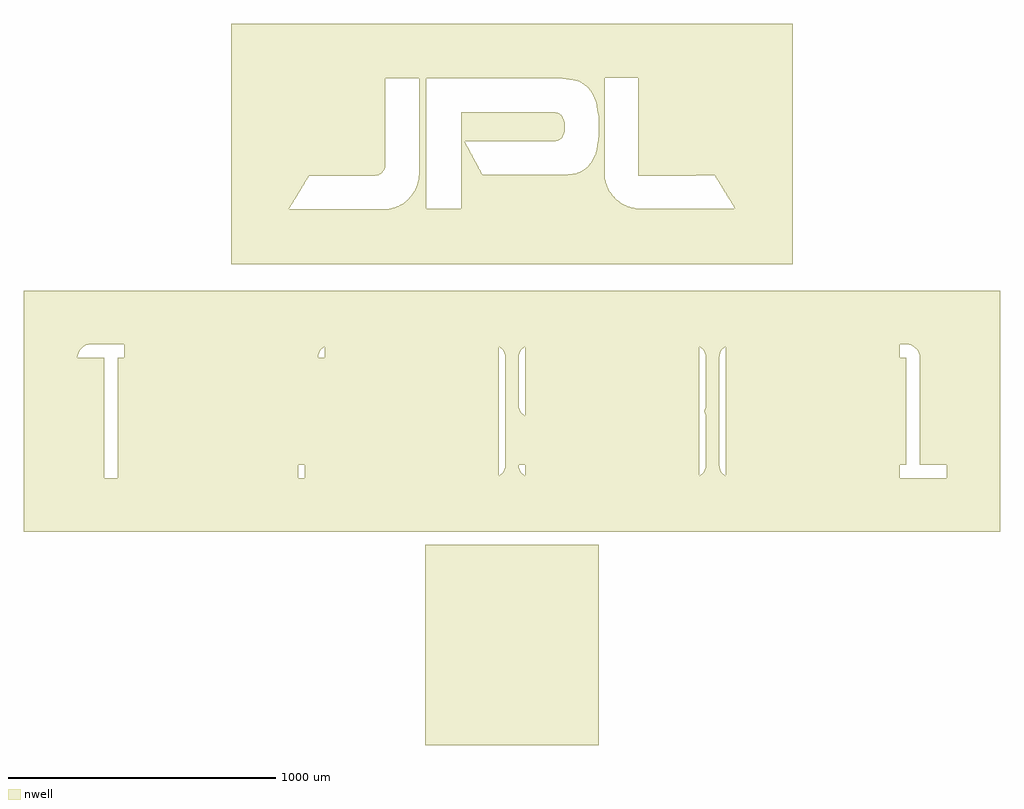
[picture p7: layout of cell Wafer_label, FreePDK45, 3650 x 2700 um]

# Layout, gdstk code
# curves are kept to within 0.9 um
import gdstk
lib = gdstk.Library(unit=1e-6, precision=1e-09)
def R(c, l, rs):  # rectangles x0, y0, x1, y1
    for r in rs: c.add(gdstk.rectangle(r[:2], r[2:], *l))
def P(c, l, *ps):  # polygons
    for p in ps: c.add(gdstk.Polygon(p, *l))
nwell = (3, 0)

jpl_logo1_r = lib.new_cell('jpl_logo1_r')
P(jpl_logo1_r, nwell, [(-1050,-450),(-1050,450),(346.5,450),(346.5,-127.5),(347.5,-127.5),(347.5,-133.5),(349.5,-133.5),(349.5,-138.5),(350.5,-138.5),(350.5,-143.5),(351.5,-143.5),(351.5,-148.5),(353.5,-148.5),(353.5,-152.5),(354.5,-152.5),(354.5,-156.5),(355.5,-156.5),(355.5,-159.5),(356.5,-159.5),(356.5,-162.5),(358.5,-162.5),(358.5,-166.5),(359.5,-166.5),(359.5,-169.5),(360.5,-169.5),(360.5,-171.5),(362.5,-171.5),(362.5,-174.5),(363.5,-174.5),(363.5,-176.5),(364.5,-176.5),(364.5,-179.5),(365.5,-179.5),(365.5,-180.5),(367.5,-180.5),(367.5,-181.5),(368.5,-181.5),(368.5,-184.5),(369.5,-184.5),(369.5,-185.5),(370.5,-185.5),(370.5,-186.5),(372.5,-186.5),(372.5,-189.5),(373.5,-189.5),(373.5,-190.5),(374.5,-190.5),(374.5,-191.5),(375.5,-191.5),(375.5,-193.5),(377.5,-193.5),(377.5,-195.5),(378.5,-195.5),(378.5,-196.5),(379.5,-196.5),(379.5,-198.5),(381.5,-198.5),(381.5,-199.5),(382.5,-199.5),(382.5,-200.5),(383.5,-200.5),(383.5,-203.5),(384.5,-203.5),(384.5,-204.5),(386.5,-204.5),(386.5,-205.5),(387.5,-205.5),(387.5,-206.5),(388.5,-206.5),(388.5,-208.5),(389.5,-208.5),(389.5,-209.5),(392.5,-209.5),(392.5,-210.5),(393.5,-210.5),(393.5,-211.5),(395.5,-211.5),(395.5,-213.5),(396.5,-213.5),(396.5,-214.5),(397.5,-214.5),(397.5,-215.5),(400.5,-215.5),(400.5,-217.5),(401.5,-217.5),(401.5,-218.5),(402.5,-218.5),(402.5,-219.5),(405.5,-219.5),(405.5,-220.5),(406.5,-220.5),(406.5,-222.5),(409.5,-222.5),(409.5,-223.5),(410.5,-223.5),(410.5,-224.5),(412.5,-224.5),(412.5,-225.5),(415.5,-225.5),(415.5,-227.5),(416.5,-227.5),(416.5,-228.5),(420.5,-228.5),(420.5,-229.5),(423.5,-229.5),(423.5,-230.5),(426.5,-230.5),(426.5,-232.5),(429.5,-232.5),(429.5,-233.5),(431.5,-233.5),(431.5,-234.5),(434.5,-234.5),(434.5,-235.5),(439.5,-235.5),(439.5,-237.5),(444.5,-237.5),(444.5,-238.5),(447.5,-238.5),(447.5,-239.5),(457.5,-239.5),(457.5,-240.5),(461.5,-240.5),(461.5,-242.5),(475.5,-242.5),(475.5,-243.5),(834.5,-243.5),(834.5,-240.5),(833.5,-240.5),(833.5,-238.5),(831.5,-238.5),(831.5,-237.5),(830.5,-237.5),(830.5,-234.5),(829.5,-234.5),(829.5,-232.5),(828.5,-232.5),(828.5,-230.5),(826.5,-230.5),(826.5,-228.5),(825.5,-228.5),(825.5,-225.5),(824.5,-225.5),(824.5,-224.5),(823.5,-224.5),(823.5,-222.5),(821.5,-222.5),(821.5,-219.5),(820.5,-219.5),(820.5,-218.5),(819.5,-218.5),(819.5,-215.5),(817.5,-215.5),(817.5,-213.5),(816.5,-213.5),(816.5,-211.5),(815.5,-211.5),(815.5,-209.5),(814.5,-209.5),(814.5,-206.5),(812.5,-206.5),(812.5,-205.5),(811.5,-205.5),(811.5,-203.5),(810.5,-203.5),(810.5,-200.5),(808.5,-200.5),(808.5,-199.5),(807.5,-199.5),(807.5,-196.5),(806.5,-196.5),(806.5,-194.5),(805.5,-194.5),(805.5,-193.5),(803.5,-193.5),(803.5,-190.5),(802.5,-190.5),(802.5,-188.5),(801.5,-188.5),(801.5,-186.5),(800.5,-186.5),(800.5,-184.5),(798.5,-184.5),(798.5,-181.5),(797.5,-181.5),(797.5,-180.5),(796.5,-180.5),(796.5,-177.5),(794.5,-177.5),(794.5,-176.5),(793.5,-176.5),(793.5,-174.5),(792.5,-174.5),(792.5,-171.5),(791.5,-171.5),(791.5,-170.5),(789.5,-170.5),(789.5,-167.5),(788.5,-167.5),(788.5,-165.5),(787.5,-165.5),(787.5,-164.5),(785.5,-164.5),(785.5,-161.5),(784.5,-161.5),(784.5,-159.5),(783.5,-159.5),(783.5,-157.5),(782.5,-157.5),(782.5,-155.5),(780.5,-155.5),(780.5,-152.5),(779.5,-152.5),(779.5,-151.5),(778.5,-151.5),(778.5,-148.5),(777.5,-148.5),(777.5,-146.5),(775.5,-146.5),(775.5,-145.5),(774.5,-145.5),(774.5,-142.5),(773.5,-142.5),(773.5,-140.5),(771.5,-140.5),(771.5,-138.5),(770.5,-138.5),(770.5,-136.5),(769.5,-136.5),(769.5,-133.5),(768.5,-133.5),(768.5,-132.5),(766.5,-132.5),(766.5,-130.5),(765.5,-130.5),(765.5,-127.5),(764.5,-127.5),(764.5,-126.5),(762.5,-126.5),(762.5,-123.5),(761.5,-123.5),(761.5,-121.5),(760.5,-121.5),(760.5,-119.5),(687.5,-119.5),(687.5,-118.5),(472.5,-118.5),(472.5,246.5),(346.5,246.5),(346.5,450),(1050,450),(1050,-450),(-320.5,-450),(-320.5,-243.5),(-189.5,-243.5),(-189.5,118.5),(152.5,118.5),(152.5,117.5),(161.5,117.5),(161.5,115.5),(170.5,115.5),(170.5,114.5),(173.5,114.5),(173.5,113.5),(175.5,113.5),(175.5,112.5),(178.5,112.5),(178.5,110.5),(179.5,110.5),(179.5,109.5),(182.5,109.5),(182.5,108.5),(183.5,108.5),(183.5,106.5),(184.5,106.5),(184.5,105.5),(185.5,105.5),(185.5,103.5),(187.5,103.5),(187.5,101.5),(188.5,101.5),(188.5,99.5),(189.5,99.5),(189.5,96.5),(190.5,96.5),(190.5,94.5),(192.5,94.5),(192.5,91.5),(193.5,91.5),(193.5,86.5),(194.5,86.5),(194.5,81.5),(196.5,81.5),(196.5,71.5),(197.5,71.5),(197.5,57.5),(196.5,57.5),(196.5,45.5),(194.5,45.5),(194.5,40.5),(193.5,40.5),(193.5,35.5),(192.5,35.5),(192.5,31.5),(190.5,31.5),(190.5,28.5),(189.5,28.5),(189.5,26.5),(188.5,26.5),(188.5,25.5),(187.5,25.5),(187.5,22.5),(185.5,22.5),(185.5,21.5),(184.5,21.5),(184.5,19.5),(183.5,19.5),(183.5,18.5),(180.5,18.5),(180.5,17.5),(179.5,17.5),(179.5,16.5),(178.5,16.5),(178.5,14.5),(175.5,14.5),(175.5,13.5),(173.5,13.5),(173.5,12.5),(170.5,12.5),(170.5,11.5),(164.5,11.5),(164.5,9.5),(-177.5,9.5),(-177.5,8.5),(-176.5,8.5),(-176.5,6.5),(-175.5,6.5),(-175.5,3.5),(-174.5,3.5),(-174.5,1.5),(-172.5,1.5),(-172.5,-1.5),(-171.5,-1.5),(-171.5,-3.5),(-170.5,-3.5),(-170.5,-6.5),(-169.5,-6.5),(-169.5,-9.5),(-167.5,-9.5),(-167.5,-11.5),(-166.5,-11.5),(-166.5,-12.5),(-165.5,-12.5),(-165.5,-15.5),(-163.5,-15.5),(-163.5,-17.5),(-162.5,-17.5),(-162.5,-20.5),(-161.5,-20.5),(-161.5,-22.5),(-160.5,-22.5),(-160.5,-25.5),(-158.5,-25.5),(-158.5,-27.5),(-157.5,-27.5),(-157.5,-30.5),(-156.5,-30.5),(-156.5,-32.5),(-155.5,-32.5),(-155.5,-34.5),(-153.5,-34.5),(-153.5,-36.5),(-152.5,-36.5),(-152.5,-39.5),(-151.5,-39.5),(-151.5,-41.5),(-149.5,-41.5),(-149.5,-44.5),(-148.5,-44.5),(-148.5,-46.5),(-147.5,-46.5),(-147.5,-49.5),(-146.5,-49.5),(-146.5,-51.5),(-144.5,-51.5),(-144.5,-53.5),(-143.5,-53.5),(-143.5,-55.5),(-142.5,-55.5),(-142.5,-58.5),(-140.5,-58.5),(-140.5,-60.5),(-139.5,-60.5),(-139.5,-63.5),(-138.5,-63.5),(-138.5,-65.5),(-137.5,-65.5),(-137.5,-68.5),(-135.5,-68.5),(-135.5,-70.5),(-134.5,-70.5),(-134.5,-73.5),(-133.5,-73.5),(-133.5,-74.5),(-132.5,-74.5),(-132.5,-77.5),(-130.5,-77.5),(-130.5,-79.5),(-129.5,-79.5),(-129.5,-82.5),(-128.5,-82.5),(-128.5,-84.5),(-126.5,-84.5),(-126.5,-87.5),(-125.5,-87.5),(-125.5,-89.5),(-124.5,-89.5),(-124.5,-92.5),(-123.5,-92.5),(-123.5,-94.5),(-121.5,-94.5),(-121.5,-95.5),(-120.5,-95.5),(-120.5,-98.5),(-119.5,-98.5),(-119.5,-101.5),(-117.5,-101.5),(-117.5,-103.5),(-116.5,-103.5),(-116.5,-106.5),(-115.5,-106.5),(-115.5,-108.5),(-114.5,-108.5),(-114.5,-111.5),(-112.5,-111.5),(-112.5,-113.5),(-111.5,-113.5),(-111.5,-116.5),(210.5,-116.5),(210.5,-114.5),(224.5,-114.5),(224.5,-113.5),(227.5,-113.5),(227.5,-112.5),(235.5,-112.5),(235.5,-111.5),(242.5,-111.5),(242.5,-109.5),(244.5,-109.5),(244.5,-108.5),(247.5,-108.5),(247.5,-107.5),(250.5,-107.5),(250.5,-106.5),(254.5,-106.5),(254.5,-104.5),(257.5,-104.5),(257.5,-103.5),(259.5,-103.5),(259.5,-102.5),(262.5,-102.5),(262.5,-101.5),(264.5,-101.5),(264.5,-99.5),(266.5,-99.5),(266.5,-98.5),(268.5,-98.5),(268.5,-97.5),(270.5,-97.5),(270.5,-95.5),(271.5,-95.5),(271.5,-94.5),(273.5,-94.5),(273.5,-93.5),(275.5,-93.5),(275.5,-92.5),(276.5,-92.5),(276.5,-90.5),(277.5,-90.5),(277.5,-89.5),(279.5,-89.5),(279.5,-88.5),(281.5,-88.5),(281.5,-87.5),(282.5,-87.5),(282.5,-85.5),(284.5,-85.5),(284.5,-84.5),(285.5,-84.5),(285.5,-83.5),(286.5,-83.5),(286.5,-82.5),(287.5,-82.5),(287.5,-79.5),(289.5,-79.5),(289.5,-78.5),(290.5,-78.5),(290.5,-77.5),(291.5,-77.5),(291.5,-74.5),(293.5,-74.5),(293.5,-73.5),(294.5,-73.5),(294.5,-72.5),(295.5,-72.5),(295.5,-69.5),(296.5,-69.5),(296.5,-68.5),(298.5,-68.5),(298.5,-65.5),(299.5,-65.5),(299.5,-63.5),(300.5,-63.5),(300.5,-60.5),(302.5,-60.5),(302.5,-58.5),(303.5,-58.5),(303.5,-55.5),(304.5,-55.5),(304.5,-53.5),(305.5,-53.5),(305.5,-50.5),(307.5,-50.5),(307.5,-48.5),(308.5,-48.5),(308.5,-45.5),(309.5,-45.5),(309.5,-43.5),(310.5,-43.5),(310.5,-40.5),(312.5,-40.5),(312.5,-36.5),(313.5,-36.5),(313.5,-31.5),(314.5,-31.5),(314.5,-26.5),(316.5,-26.5),(316.5,-20.5),(317.5,-20.5),(317.5,-14.5),(318.5,-14.5),(318.5,-7.5),(319.5,-7.5),(319.5,-0.5),(321.5,-0.5),(321.5,7.5),(322.5,7.5),(322.5,22.5),(323.5,22.5),(323.5,47.5),(324.5,47.5),(324.5,90.5),(323.5,90.5),(323.5,106.5),(322.5,106.5),(322.5,114.5),(321.5,114.5),(321.5,122.5),(319.5,122.5),(319.5,128.5),(318.5,128.5),(318.5,135.5),(317.5,135.5),(317.5,142.5),(316.5,142.5),(316.5,149.5),(314.5,149.5),(314.5,156.5),(313.5,156.5),(313.5,159.5),(312.5,159.5),(312.5,163.5),(310.5,163.5),(310.5,166.5),(309.5,166.5),(309.5,170.5),(308.5,170.5),(308.5,173.5),(307.5,173.5),(307.5,176.5),(305.5,176.5),(305.5,178.5),(304.5,178.5),(304.5,181.5),(303.5,181.5),(303.5,183.5),(302.5,183.5),(302.5,186.5),(300.5,186.5),(300.5,188.5),(299.5,188.5),(299.5,191.5),(298.5,191.5),(298.5,192.5),(296.5,192.5),(296.5,195.5),(295.5,195.5),(295.5,197.5),(294.5,197.5),(294.5,199.5),(293.5,199.5),(293.5,200.5),(291.5,200.5),(291.5,202.5),(290.5,202.5),(290.5,204.5),(289.5,204.5),(289.5,205.5),(287.5,205.5),(287.5,207.5),(286.5,207.5),(286.5,209.5),(285.5,209.5),(285.5,210.5),(284.5,210.5),(284.5,211.5),(281.5,211.5),(281.5,212.5),(280.5,212.5),(280.5,214.5),(279.5,214.5),(279.5,215.5),(277.5,215.5),(277.5,216.5),(276.5,216.5),(276.5,217.5),(273.5,217.5),(273.5,219.5),(272.5,219.5),(272.5,220.5),(271.5,220.5),(271.5,221.5),(270.5,221.5),(270.5,222.5),(268.5,222.5),(268.5,224.5),(266.5,224.5),(266.5,225.5),(263.5,225.5),(263.5,226.5),(262.5,226.5),(262.5,228.5),(259.5,228.5),(259.5,229.5),(257.5,229.5),(257.5,230.5),(254.5,230.5),(254.5,231.5),(252.5,231.5),(252.5,233.5),(248.5,233.5),(248.5,234.5),(245.5,234.5),(245.5,235.5),(242.5,235.5),(242.5,236.5),(238.5,236.5),(238.5,238.5),(229.5,238.5),(229.5,239.5),(225.5,239.5),(225.5,240.5),(216.5,240.5),(216.5,241.5),(203.5,241.5),(203.5,243.5),(189.5,243.5),(189.5,244.5),(-320.5,244.5),(-320.5,-450),(-835.5,-450),(-835.5,-245.5),(-461.5,-245.5),(-461.5,-244.5),(-459.5,-244.5),(-459.5,-243.5),(-454.5,-243.5),(-454.5,-242.5),(-449.5,-242.5),(-449.5,-240.5),(-446.5,-240.5),(-446.5,-239.5),(-441.5,-239.5),(-441.5,-238.5),(-436.5,-238.5),(-436.5,-237.5),(-433.5,-237.5),(-433.5,-235.5),(-431.5,-235.5),(-431.5,-234.5),(-428.5,-234.5),(-428.5,-233.5),(-424.5,-233.5),(-424.5,-232.5),(-422.5,-232.5),(-422.5,-230.5),(-418.5,-230.5),(-418.5,-229.5),(-417.5,-229.5),(-417.5,-228.5),(-414.5,-228.5),(-414.5,-227.5),(-412.5,-227.5),(-412.5,-225.5),(-409.5,-225.5),(-409.5,-224.5),(-407.5,-224.5),(-407.5,-223.5),(-405.5,-223.5),(-405.5,-222.5),(-403.5,-222.5),(-403.5,-220.5),(-401.5,-220.5),(-401.5,-219.5),(-400.5,-219.5),(-400.5,-218.5),(-398.5,-218.5),(-398.5,-217.5),(-396.5,-217.5),(-396.5,-215.5),(-395.5,-215.5),(-395.5,-214.5),(-394.5,-214.5),(-394.5,-213.5),(-393.5,-213.5),(-393.5,-211.5),(-391.5,-211.5),(-391.5,-210.5),(-390.5,-210.5),(-390.5,-209.5),(-389.5,-209.5),(-389.5,-208.5),(-387.5,-208.5),(-387.5,-206.5),(-386.5,-206.5),(-386.5,-205.5),(-385.5,-205.5),(-385.5,-204.5),(-384.5,-204.5),(-384.5,-201.5),(-382.5,-201.5),(-382.5,-200.5),(-381.5,-200.5),(-381.5,-199.5),(-380.5,-199.5),(-380.5,-198.5),(-379.5,-198.5),(-379.5,-196.5),(-377.5,-196.5),(-377.5,-194.5),(-376.5,-194.5),(-376.5,-193.5),(-375.5,-193.5),(-375.5,-191.5),(-374.5,-191.5),(-374.5,-190.5),(-372.5,-190.5),(-372.5,-188.5),(-371.5,-188.5),(-371.5,-186.5),(-370.5,-186.5),(-370.5,-185.5),(-368.5,-185.5),(-368.5,-182.5),(-367.5,-182.5),(-367.5,-181.5),(-366.5,-181.5),(-366.5,-179.5),(-365.5,-179.5),(-365.5,-176.5),(-363.5,-176.5),(-363.5,-174.5),(-362.5,-174.5),(-362.5,-171.5),(-361.5,-171.5),(-361.5,-169.5),(-360.5,-169.5),(-360.5,-166.5),(-358.5,-166.5),(-358.5,-162.5),(-357.5,-162.5),(-357.5,-160.5),(-356.5,-160.5),(-356.5,-156.5),(-354.5,-156.5),(-354.5,-153.5),(-353.5,-153.5),(-353.5,-148.5),(-352.5,-148.5),(-352.5,-142.5),(-351.5,-142.5),(-351.5,-136.5),(-349.5,-136.5),(-349.5,-130.5),(-348.5,-130.5),(-348.5,-119.5),(-347.5,-119.5),(-347.5,244.5),(-473.5,244.5),(-473.5,-82.5),(-474.5,-82.5),(-474.5,-89.5),(-475.5,-89.5),(-475.5,-92.5),(-476.5,-92.5),(-476.5,-94.5),(-478.5,-94.5),(-478.5,-97.5),(-479.5,-97.5),(-479.5,-98.5),(-480.5,-98.5),(-480.5,-101.5),(-482.5,-101.5),(-482.5,-103.5),(-483.5,-103.5),(-483.5,-104.5),(-484.5,-104.5),(-484.5,-106.5),(-485.5,-106.5),(-485.5,-107.5),(-487.5,-107.5),(-487.5,-108.5),(-488.5,-108.5),(-488.5,-109.5),(-489.5,-109.5),(-489.5,-111.5),(-490.5,-111.5),(-490.5,-112.5),(-493.5,-112.5),(-493.5,-113.5),(-494.5,-113.5),(-494.5,-114.5),(-497.5,-114.5),(-497.5,-116.5),(-498.5,-116.5),(-498.5,-117.5),(-506.5,-117.5),(-506.5,-118.5),(-510.5,-118.5),(-510.5,-119.5),(-760.5,-119.5),(-760.5,-121.5),(-761.5,-121.5),(-761.5,-123.5),(-762.5,-123.5),(-762.5,-126.5),(-763.5,-126.5),(-763.5,-127.5),(-765.5,-127.5),(-765.5,-130.5),(-766.5,-130.5),(-766.5,-132.5),(-767.5,-132.5),(-767.5,-133.5),(-769.5,-133.5),(-769.5,-136.5),(-770.5,-136.5),(-770.5,-138.5),(-771.5,-138.5),(-771.5,-140.5),(-772.5,-140.5),(-772.5,-142.5),(-774.5,-142.5),(-774.5,-145.5),(-775.5,-145.5),(-775.5,-146.5),(-776.5,-146.5),(-776.5,-148.5),(-777.5,-148.5),(-777.5,-151.5),(-779.5,-151.5),(-779.5,-152.5),(-780.5,-152.5),(-780.5,-155.5),(-781.5,-155.5),(-781.5,-157.5),(-783.5,-157.5),(-783.5,-159.5),(-784.5,-159.5),(-784.5,-161.5),(-785.5,-161.5),(-785.5,-164.5),(-786.5,-164.5),(-786.5,-165.5),(-788.5,-165.5),(-788.5,-167.5),(-789.5,-167.5),(-789.5,-170.5),(-790.5,-170.5),(-790.5,-171.5),(-792.5,-171.5),(-792.5,-174.5),(-793.5,-174.5),(-793.5,-176.5),(-794.5,-176.5),(-794.5,-177.5),(-795.5,-177.5),(-795.5,-180.5),(-797.5,-180.5),(-797.5,-182.5),(-798.5,-182.5),(-798.5,-184.5),(-799.5,-184.5),(-799.5,-186.5),(-800.5,-186.5),(-800.5,-189.5),(-802.5,-189.5),(-802.5,-190.5),(-803.5,-190.5),(-803.5,-193.5),(-804.5,-193.5),(-804.5,-195.5),(-806.5,-195.5),(-806.5,-196.5),(-807.5,-196.5),(-807.5,-199.5),(-808.5,-199.5),(-808.5,-201.5),(-809.5,-201.5),(-809.5,-203.5),(-811.5,-203.5),(-811.5,-205.5),(-812.5,-205.5),(-812.5,-208.5),(-813.5,-208.5),(-813.5,-209.5),(-815.5,-209.5),(-815.5,-211.5),(-816.5,-211.5),(-816.5,-214.5),(-817.5,-214.5),(-817.5,-215.5),(-818.5,-215.5),(-818.5,-218.5),(-820.5,-218.5),(-820.5,-220.5),(-821.5,-220.5),(-821.5,-222.5),(-822.5,-222.5),(-822.5,-224.5),(-823.5,-224.5),(-823.5,-227.5),(-825.5,-227.5),(-825.5,-228.5),(-826.5,-228.5),(-826.5,-230.5),(-827.5,-230.5),(-827.5,-233.5),(-829.5,-233.5),(-829.5,-234.5),(-830.5,-234.5),(-830.5,-237.5),(-831.5,-237.5),(-831.5,-239.5),(-832.5,-239.5),(-832.5,-240.5),(-834.5,-240.5),(-834.5,-243.5),(-835.5,-243.5),(-835.5,-450)])

c_00__0_1mm_r = lib.new_cell('00__0_1mm_r')
R(c_00__0_1mm_r, nwell, [(-45,-40,-15,40), (15,-40,45,40)])
P(c_00__0_1mm_r, nwell, [(-250,-250),(-250,250),(250,250),(250,-250),(-55,-250),(-55,-40),(-52,-47),(-45,-50),(-15,-50),(-11,-49),(-6,-44),(-5,-40),(-5,40),(-8,47),(-15,50),(15,50),(8,47),(5,40),(5,-40),(8,-47),(15,-50),(45,-50),(52,-47),(55,-40),(55,40),(52,47),(45,50),(-45,50),(-49,49),(-54,44),(-55,40),(-55,-250)])

c_0_1mm_r = lib.new_cell('C_0_1mm_r')
P(c_0_1mm_r, nwell, [(-250,-250),(-250,250),(250,250),(250,-250),(-25,-250),(-25,-40),(-22,-47),(-15,-50),(15,-50),(22,-47),(25,-40),(25,-20),(15,-20),(15,-40),(-15,-40),(-15,40),(15,40),(15,20),(25,20),(24,44),(22,47),(15,50),(-15,50),(-22,47),(-25,40),(-25,-250)])

r_0_1mm_r = lib.new_cell('R_0_1mm_r')
R(r_0_1mm_r, nwell, [(-15,5,15,40)])
P(r_0_1mm_r, nwell, [(-250,-250),(-250,250),(250,250),(250,-250),(-25,-250),(-25,-40),(-22,-47),(-15,-50),(-15,-12.5),(15,-50),(19,-49),(24,-44),(25,-40),(-10,-5),(15,-5),(19,-4),(24,1),(25,40),(22,47),(15,50),(-15,50),(-22,47),(-25,40),(-25,-250)])

c_1_0_5mm_r = lib.new_cell('1_0_5mm_r')
P(c_1_0_5mm_r, nwell, [(-325,-450),(-325,450),(325,450),(325,-450),(-125,-450),(-125,-250),(125,-250),(125,-200),(25,-200),(25,200),(24,210),(17,228),(3,242),(-15,249),(-25,250),(-75,250),(-85,249),(-94,246),(-103,242),(-117,228),(-124,210),(-125,200),(-25,200),(-25,-200),(-125,-200),(-125,-450)])

c_30_0_5mm_r = lib.new_cell('30_0_5mm_r')
R(c_30_0_5mm_r, nwell, [(75,-200,225,200)])
P(c_30_0_5mm_r, nwell, [(-475,-450),(-475,450),(475,450),(475,-450),(-271,-450),(-271,-219),(-267,-228),(-253,-242),(-235,-249),(-225,-250),(-75,-250),(-65,-249),(-47,-242),(-33,-228),(-26,-210),(-25,-200),(-25,-25),(-26,-15),(-31.667,0),(-26,15),(-25,25),(-25,200),(-26,210),(-33,228),(-47,242),(47,242),(33,228),(26,210),(25,200),(25,-200),(26,-210),(33,-228),(47,-242),(65,-249),(75,-250),(225,-250),(235,-249),(253,-242),(267,-228),(274,-210),(275,-200),(275,200),(274,210),(267,228),(253,242),(235,249),(225,250),(75,250),(65,249),(47,242),(-47,242),(-65,249),(-75,250),(-225,250),(-235,249),(-253,242),(-267,228),(-274,210),(-275,200),(-75,200),(-75,25),(-225,25),(-225,-25),(-75,-25),(-75,-200),(-275,-200),(-274,-210),(-271,-219),(-271,-450)])

t_0_5mm_r = lib.new_cell('T_0_5mm_r')
P(t_0_5mm_r, nwell, [(-325,-450),(-325,450),(-117,450),(-117,228),(-124,210),(-125,200),(-25,200),(-25,-250),(25,-250),(25,200),(125,200),(124,210),(117,228),(103,242),(85,249),(75,250),(-75,250),(-85,249),(-103,242),(-117,228),(-117,450),(325,450),(325,-450)])

c_17_0_5mm_r = lib.new_cell('17_0_5mm_r')
P(c_17_0_5mm_r, nwell, [(-475,-450),(-475,450),(29,450),(29,219),(26,210),(25,200),(225,200),(225,-250),(275,-250),(275,200),(274,210),(267,228),(253,242),(235,249),(225,250),(75,250),(65,249),(47,242),(33,228),(29,219),(29,450),(475,450),(475,-450),(-275,-450),(-275,-250),(-25,-250),(-25,-200),(-125,-200),(-125,200),(-126,210),(-133,228),(-147,242),(-165,249),(-175,250),(-225,250),(-235,249),(-244,246),(-253,242),(-267,228),(-274,210),(-275,200),(-175,200),(-175,-200),(-275,-200),(-275,-450)])

c_05_0_5mm_r = lib.new_cell('05_0_5mm_r')
R(c_05_0_5mm_r, nwell, [(-225,-200,-75,200)])
P(c_05_0_5mm_r, nwell, [(-475,-450),(-475,450),(475,450),(475,-450),(-271,-450),(-271,-219),(-267,-228),(-253,-242),(-235,-249),(-225,-250),(-75,-250),(-65,-249),(-47,-242),(-33,-228),(-26,-210),(-25,-200),(-25,200),(-26,210),(-33,228),(-47,242),(47,242),(33,228),(26,210),(25,200),(25,25),(26,15),(33,-3),(47,-17),(65,-24),(75,-25),(225,-25),(225,-200),(25,-200),(26,-210),(33,-228),(47,-242),(65,-249),(75,-250),(225,-250),(235,-249),(253,-242),(267,-228),(274,-210),(275,-200),(275,-25),(274,-15),(267,3),(253,17),(235,24),(225,25),(75,25),(75,200),(275,200),(274,210),(267,228),(253,242),(235,249),(225,250),(75,250),(65,249),(47,242),(-47,242),(-65,249),(-75,250),(-225,250),(-235,249),(-253,242),(-267,228),(-274,210),(-275,200),(-275,-200),(-274,-210),(-271,-219),(-271,-450)])

dash_0_5mm_r = lib.new_cell('dash_0_5mm_r')
P(dash_0_5mm_r, nwell, [(-325,-450),(-325,450),(325,450),(325,-450),(-75,-450),(-75,-25),(75,-25),(75,25),(-75,25),(-75,-450)])

wafer_label = lib.new_cell('Wafer_label')
wafer_label.add(gdstk.Reference(jpl_logo1_r, (0,1000)))
wafer_label.add(gdstk.Reference(c_00__0_1mm_r, (75,-1000)))
wafer_label.add(gdstk.Reference(c_0_1mm_r, (-75,-1000)))
wafer_label.add(gdstk.Reference(c_00__0_1mm_r, (75,-750)))
wafer_label.add(gdstk.Reference(r_0_1mm_r, (-75,-750)))
wafer_label.add(gdstk.Reference(c_1_0_5mm_r, (1500,0)))
wafer_label.add(gdstk.Reference(c_30_0_5mm_r, (750,0)))
wafer_label.add(gdstk.Reference(t_0_5mm_r, (-1500,0)))
wafer_label.add(gdstk.Reference(c_17_0_5mm_r, (-750,0)))
wafer_label.add(gdstk.Reference(c_05_0_5mm_r, (0,0)))
r = gdstk.Reference(dash_0_5mm_r, (-1125,0)); r.repetition = gdstk.Repetition(4, 1, v1=(750,0), v2=(0,0)); wafer_label.add(r)

lib.write_gds('Wafer_label.gds')
